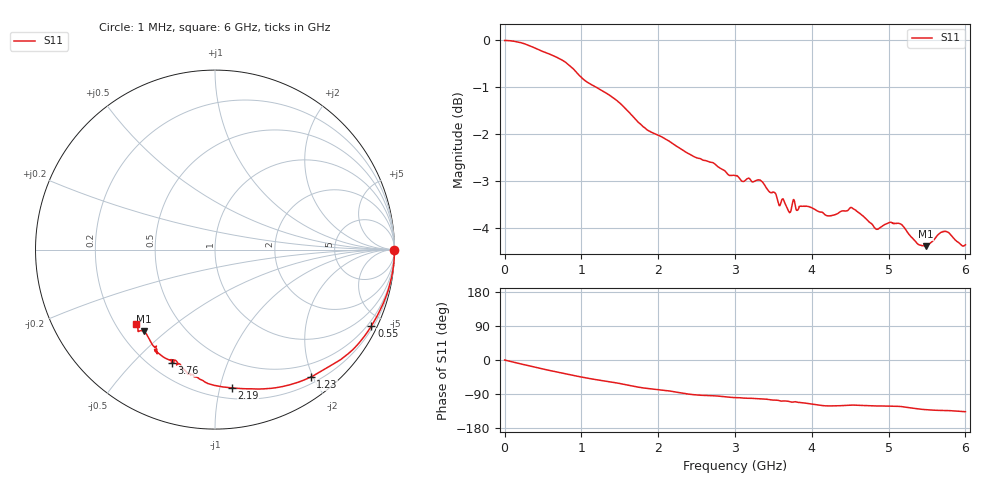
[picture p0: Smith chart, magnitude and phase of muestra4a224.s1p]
! COPPER MOUNTAIN TECHNOLOGIES, R60, 23103002, 24.3.3/3.0
! Date: 23/10/2026 12:09:42
! Data: Format [Calibration Info]
! Frequency		S11: Re/Im RO
# HZ S RI R 50
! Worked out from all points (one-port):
!   1280 points, 1 MHz to 6 GHz, reference 50 ohm
!   lowest |S11| = -4.4 dB at 5.485 GHz (marker M1), VSWR 4.04, Z = 14.7 - j21.1 ohm
!   |S11| at or under -10 dB: nowhere
!   S11 on the Smith chart (normalised r, x): 1 MHz: open; 550 MHz: 0.30, -4.31; 1.23 GHz: 0.29, -1.96; 2.19 GHz: 0.28, -1.09; 3.76 GHz: 0.28, -0.65; 6 GHz: 0.28, -0.37
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1000000  0.9999 -0.000786
2.45e8  0.9713 -0.205
5.5e8  0.8712 -0.4255
7.55e8  0.7834 -0.5414
9.45e8  0.6778 -0.6265
1.23e9  0.5325 -0.7102
1.505e9  0.4 -0.7577
1.79e9  0.2345 -0.7766
2.19e9  0.0928 -0.7705
2.255e9  0.0613 -0.7674
2.475e9  -0.023 -0.7508
2.75e9  -0.0601 -0.7344
3.005e9  -0.1175 -0.7074
3.34e9  -0.1532 -0.6918
3.705e9  -0.2172 -0.619
3.755e9  -0.2426 -0.6288
3.76e9  -0.2409 -0.6317
3.805e9  -0.2359 -0.6149
3.95e9  -0.2782 -0.6043
4.165e9  -0.3345 -0.5603
4.285e9  -0.336 -0.5576
4.505e9  -0.3232 -0.5792
4.835e9  -0.3262 -0.538
5.12e9  -0.3391 -0.5406
5.255e9  -0.3609 -0.5074
5.485e9  -0.397 -0.4542
5.755e9  -0.4289 -0.455
6e9  -0.4385 -0.4172
